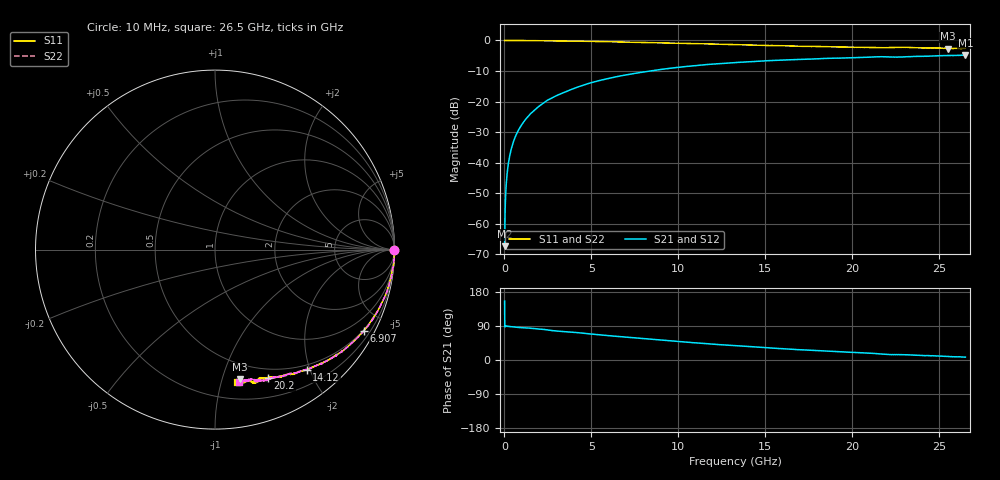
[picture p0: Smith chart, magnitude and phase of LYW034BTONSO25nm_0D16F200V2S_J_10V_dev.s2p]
!Keysight Technologies,N5222B,MY61253708,A.15.00.15
!Date: Wednesday, June 19, 2024 08:41:50
!Correction: S11(C  2-Port  )
!S21(C  2-Port  )
!S12(C  2-Port  )
!S22(C  2-Port  )
!S2P File: Measurements: S11, S21, S12, S22:
# Hz S  RI  R 50
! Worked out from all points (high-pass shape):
!   2651 points, 10 MHz to 26.5 GHz, reference 50 ohm
!   highest |S21| = -4.79 dB at 26.5 GHz (marker M1); lowest = -67.4 dB at 10 MHz (marker M2)
!   |S21| within 3 dB of the highest: 11.87 GHz to end of sweep
!   lowest |S11| = -2.7 dB at 25.5 GHz (marker M3), VSWR 6.56, Z = 18.2 - j57.1 ohm
!   |S11| at or under -10 dB: nowhere
!   |S22| runs from -2.6 to 0.0 dB; largest |S21 - S12| = 0.0091
!   S11 on the Smith chart (normalised r, x): 10 MHz: open; 6.907 GHz: 0.46, -3.88; 14.12 GHz: 0.42, -1.95; 20.2 GHz: 0.40, -1.42; 26.5 GHz: 0.34, -1.12
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1e7  0.9987 -0.00278  -0.000388 0.000177  -0.000302 0.000221  0.9985 -0.00107
6.997736e7  1 -0.00571  -2.05e-05 0.00296  1.63e-05 0.00295  0.9995 -0.00531
1.599434e8  0.9997 -0.013  0.000112 0.00681  0.000103 0.00678  0.9995 -0.0122
1.999283e8  0.9998 -0.0157  0.00021 0.00848  0.000169 0.00845  0.9995 -0.0149
2.599057e8  0.9992 -0.0207  0.00023 0.011  0.000259 0.011  0.9993 -0.0197
3.598679e8  0.999 -0.0284  0.000537 0.0152  0.000499 0.0152  0.999 -0.0275
4.898189e8  0.9984 -0.0383  0.000889 0.0208  0.000877 0.0207  0.9985 -0.0369
8.396868e8  0.9967 -0.0644  0.00248 0.0352  0.00245 0.0351  0.997 -0.0637
1.459453e9  0.9872 -0.1125  0.00647 0.0611  0.00636 0.0609  0.99 -0.1081
2.329125e9  0.9742 -0.173  0.0165 0.0971  0.0165 0.097  0.9759 -0.173
3.208792e9  0.9569 -0.2351  0.0329 0.1288  0.0327 0.1288  0.9576 -0.2335
4.428332e9  0.9208 -0.3141  0.0586 0.1721  0.0584 0.1722  0.9232 -0.3107
6.907396e9  0.8295 -0.4517  0.1331 0.2354  0.1333 0.2354  0.8321 -0.4505
8.846664e9  0.7449 -0.5359  0.1981 0.2651  0.1985 0.2653  0.7477 -0.5336
1.3255e10  0.5486 -0.6526  0.3432 0.266  0.3444 0.2657  0.5531 -0.6516
1.412467e10  0.5116 -0.6687  0.3671 0.2579  0.3677 0.258  0.518 -0.6649
1.767333e10  0.373 -0.7051  0.4479 0.2139  0.4503 0.2125  0.3852 -0.7041
2.020238e10  0.2956 -0.7141  0.4926 0.1775  0.4935 0.1746  0.3102 -0.7158
2.209166e10  0.2473 -0.718  0.5198 0.1351  0.5204 0.1332  0.2423 -0.7262
2.308129e10  0.2181 -0.7443  0.5239 0.1282  0.5237 0.1288  0.2199 -0.7271
2.550038e10  0.1381 -0.7223  0.5587 0.0889  0.5597 0.0905  0.1578 -0.7301
2.65e10  0.1216 -0.7363  0.5713 0.0769  0.5693 0.0745  0.1332 -0.7383
